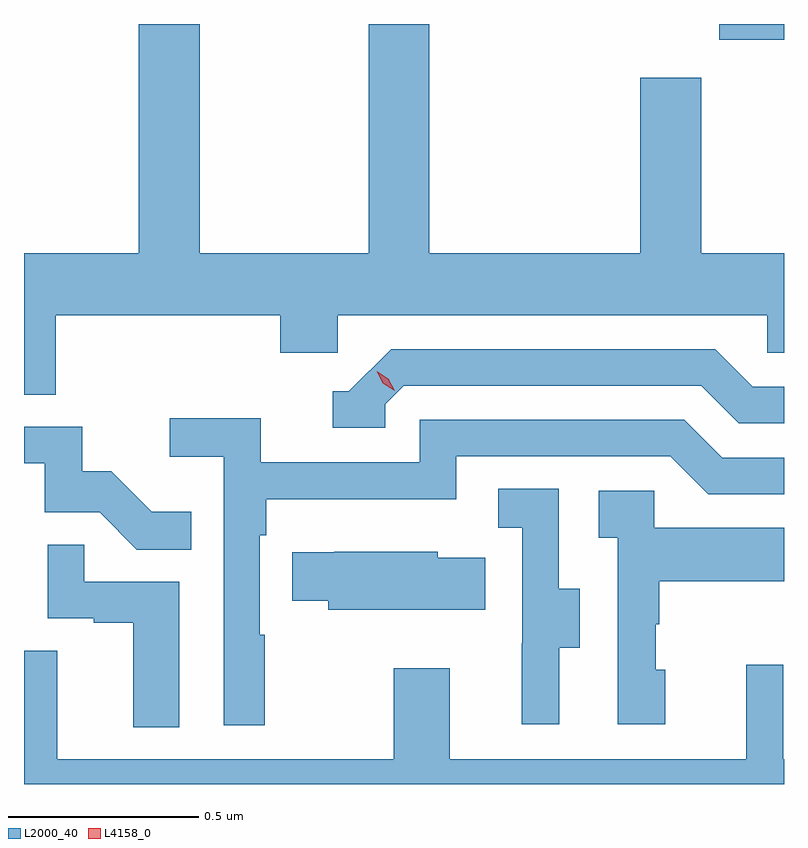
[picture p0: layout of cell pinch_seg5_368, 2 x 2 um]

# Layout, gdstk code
import gdstk
lib = gdstk.Library(unit=1e-6, precision=1e-09)
def R(c, l, rs):  # rectangles x0, y0, x1, y1
    for r in rs: c.add(gdstk.rectangle(r[:2], r[2:], *l))
def P(c, l, *ps):  # polygons
    for p in ps: c.add(gdstk.Polygon(p, *l))
L2000_40 = (2000, 40)
L4158_0 = (4158, 0)

pinch_seg5_368 = lib.new_cell('pinch_seg5_368')
R(pinch_seg5_368, L2000_40, [(1003.4,880.13,1003.571,880.171)])
P(pinch_seg5_368, L2000_40, [(1001.654,879.404),(1002.245,879.404),(1002.245,879.306),(1002.396,879.306),(1002.396,879.404),(1003.527,879.404),(1003.527,879.306),(1003.571,879.306),(1003.571,879.568),(1003.353,879.568),(1003.353,880.03),(1003.193,880.03),(1003.193,879.568),(1002.638,879.568),(1002.638,880.171),(1002.478,880.171),(1002.478,879.568),(1002.033,879.568),(1002.033,880.171),(1001.873,880.171),(1001.873,879.568),(1001.571,879.568),(1001.571,879.196),(1001.654,879.196)],
  [(1002.522,879.171),(1002.57,879.219),(1003.353,879.219),(1003.452,879.12),(1003.571,879.12),(1003.571,879.216),(1003.489,879.216),(1003.39,879.315),(1002.537,879.315),(1002.426,879.204),(1002.383,879.204),(1002.383,879.108),(1002.522,879.108)],
  [(1002.205,878.564),(1002.192,878.564),(1002.192,878.825),(1002.209,878.825),(1002.209,878.921),(1002.708,878.921),(1002.708,879.033),(1003.272,879.033),(1003.371,878.934),(1003.571,878.934),(1003.571,879.03),(1003.408,879.03),(1003.309,879.129),(1002.612,879.129),(1002.612,879.018),(1002.194,879.018),(1002.194,879.134),(1001.955,879.134),(1001.955,879.032),(1002.096,879.032),(1002.096,878.325),(1002.205,878.325)],
  [(1002.011,878.887),(1001.907,878.887),(1001.8,878.994),(1001.724,878.994),(1001.724,879.111),(1001.571,879.111),(1001.571,879.015),(1001.625,879.015),(1001.625,878.886),(1001.77,878.886),(1001.868,878.788),(1002.011,878.788)],
  [(1002.979,878.53),(1003.033,878.53),(1003.033,878.685),(1002.978,878.685),(1002.978,878.948),(1002.819,878.948),(1002.819,878.845),(1002.882,878.845),(1002.882,878.541),(1002.881,878.541),(1002.881,878.328),(1002.979,878.328)],
  [(1003.258,878.472),(1003.233,878.472),(1003.233,878.591),(1003.243,878.591),(1003.243,878.705),(1003.571,878.705),(1003.571,878.845),(1003.23,878.845),(1003.23,878.943),(1003.083,878.943),(1003.083,878.819),(1003.134,878.819),(1003.134,878.328),(1003.258,878.328)],
  [(1001.98,878.703),(1001.729,878.703),(1001.729,878.801),(1001.634,878.801),(1001.634,878.607),(1001.755,878.607),(1001.755,878.595),(1001.858,878.595),(1001.858,878.321),(1001.98,878.321)],
  [(1002.785,878.767),(1002.66,878.767),(1002.66,878.782),(1002.388,878.782),(1002.388,878.781),(1002.277,878.781),(1002.277,878.653),(1002.371,878.653),(1002.371,878.63),(1002.785,878.63)],
  [(1003.571,878.236),(1003.569,878.236),(1003.569,878.485),(1003.472,878.485),(1003.472,878.236),(1002.691,878.236),(1002.691,878.476),(1002.544,878.476),(1002.544,878.236),(1001.659,878.236),(1001.659,878.522),(1001.571,878.522),(1001.571,878.171),(1003.571,878.171)])
P(pinch_seg5_368, L4158_0, [(1002.546,879.206),(1002.515,879.225),(1002.499,879.257),(1002.499,879.257),(1002.499,879.257),(1002.53,879.238),(1002.547,879.206),(1002.547,879.206)])

lib.write_gds('pinch_seg5_368.gds')
